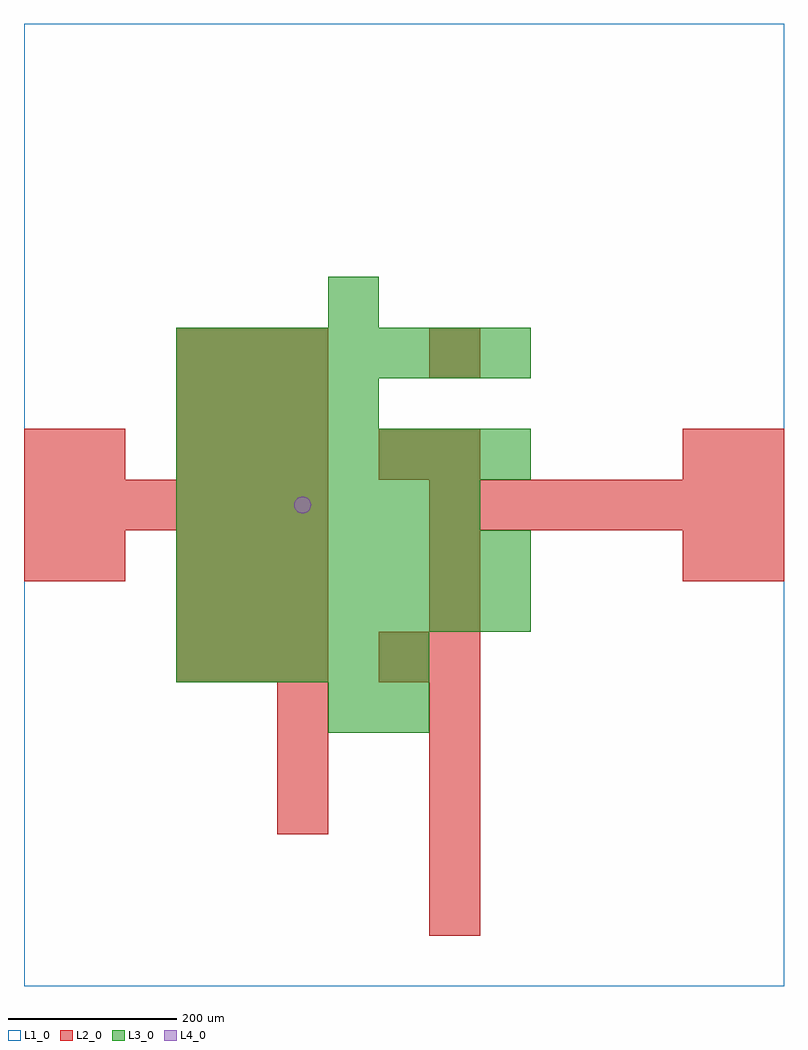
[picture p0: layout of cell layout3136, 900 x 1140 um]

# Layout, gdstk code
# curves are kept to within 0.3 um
import gdstk
lib = gdstk.Library(unit=1e-6, precision=1e-09)
def R(c, l, rs):  # rectangles x0, y0, x1, y1
    for r in rs: c.add(gdstk.rectangle(r[:2], r[2:], *l))
def A(c, l, x, y, w, h, nx, ny, dx, dy):  # array of equal rectangles
    R(c, l, [(x+i*dx, y+j*dy, x+i*dx+w, y+j*dy+h) for i in range(nx) for j in range(ny)])
def P(c, l, *ps):  # polygons
    for p in ps: c.add(gdstk.Polygon(p, *l))
L1_0 = (1, 0)
L2_0 = (2, 0)
L3_0 = (3, 0)
L4_0 = (4, 0)

layout3136 = lib.new_cell('layout3136')
R(layout3136, L1_0, [(0,0,900,1140)])
A(layout3136, L2_0, 480, 60, 60, 60, 1, 8, 0, 60)
A(layout3136, L2_0, 300, 180, 60, 60, 1, 3, 0, 60)
A(layout3136, L2_0, 180, 360, 60, 60, 3, 3, 60, 60)
A(layout3136, L2_0, 0, 540, 60, 60, 6, 1, 60, 0)
A(layout3136, L2_0, 480, 540, 60, 60, 7, 1, 60, 0)
A(layout3136, L2_0, 180, 600, 60, 60, 3, 3, 60, 60)
R(layout3136, L2_0, [(420,360,480,420), (0,480,60,540), (60,480,120,540), (780,480,840,540), (840,480,900,540), (0,600,60,660), (60,600,120,660), (420,600,480,660), (480,600,540,660), (780,600,840,660), (840,600,900,660), (480,720,540,780)])
A(layout3136, L3_0, 180, 360, 60, 60, 5, 1, 60, 0)
A(layout3136, L3_0, 180, 420, 60, 60, 7, 2, 60, 60)
A(layout3136, L3_0, 180, 540, 60, 60, 6, 1, 60, 0)
A(layout3136, L3_0, 180, 600, 60, 60, 7, 2, 60, 120)
A(layout3136, L3_0, 180, 660, 60, 60, 4, 1, 60, 0)
R(layout3136, L3_0, [(360,300,420,360), (420,300,480,360), (360,780,420,840)])
P(layout3136, L4_0, [(340,570),(339.239,573.827),(337.071,577.071),(333.827,579.239),(330,580),(326.173,579.239),(322.929,577.071),(320.761,573.827),(320,570),(320.761,566.173),(322.929,562.929),(326.173,560.761),(330,560),(333.827,560.761),(337.071,562.929),(339.239,566.173)])

lib.write_gds('layout3136.gds')
